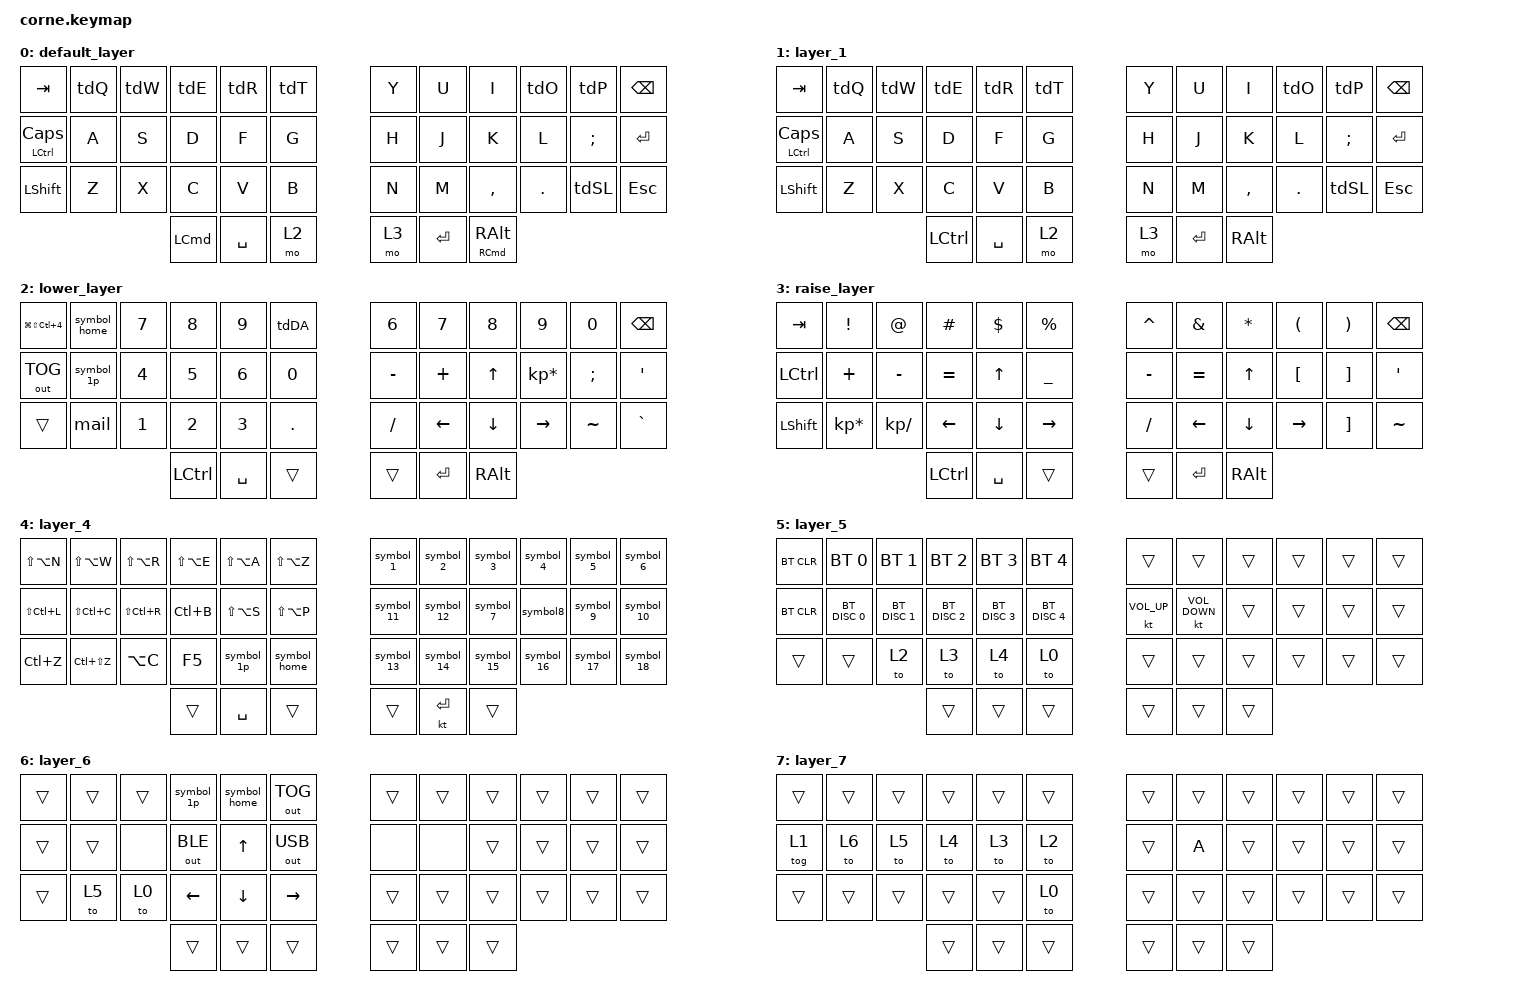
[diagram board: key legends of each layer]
/*
 * Copyright (c) 2020 The ZMK Contributors
 *
 * SPDX-License-Identifier: MIT
 */

#include <behaviors.dtsi>
#include <dt-bindings/zmk/bt.h>
#include <dt-bindings/zmk/keys.h>
#include <dt-bindings/zmk/outputs.h>

/ {
    behaviors {
        tdQ: tap_dance_Q {
            compatible = "zmk,behavior-tap-dance";
            #binding-cells = <0>;
            tapping-term-ms = <180>;
            bindings = <&kp Q>, <&kp LS(Q)>;
        };

        tdW: tap_dance_W {
            compatible = "zmk,behavior-tap-dance";
            #binding-cells = <0>;
            tapping-term-ms = <180>;
            bindings = <&kp W>, <&kp LS(W)>;
        };

        tdE: tap_dance_E {
            compatible = "zmk,behavior-tap-dance";
            #binding-cells = <0>;
            tapping-term-ms = <180>;
            bindings = <&kp E>, <&kp LS(E)>;
        };

        tdR: tap_dance_R {
            compatible = "zmk,behavior-tap-dance";
            #binding-cells = <0>;
            tapping-term-ms = <180>;
            bindings = <&kp R>, <&kp LS(R)>;
        };

        tdT: tap_dance_T {
            compatible = "zmk,behavior-tap-dance";
            #binding-cells = <0>;
            tapping-term-ms = <180>;
            bindings = <&kp T>, <&kp LS(T)>;
        };

        tdO: tap_dance_O {
            compatible = "zmk,behavior-tap-dance";
            #binding-cells = <0>;
            tapping-term-ms = <180>;
            bindings = <&kp O>, <&kp LS(O)>;
        };

        tdP: tap_dance_P {
            compatible = "zmk,behavior-tap-dance";
            #binding-cells = <0>;
            tapping-term-ms = <180>;
            bindings = <&kp P>, <&kp LS(P)>;
        };

        tdSL: tap_dance_SL {
            compatible = "zmk,behavior-tap-dance";
            #binding-cells = <0>;
            tapping-term-ms = <180>;
            bindings = <&kp FSLH>, <&kp LS(FSLH)>;
        };

        td1: tap_dance_1 {
            compatible = "zmk,behavior-tap-dance";
            #binding-cells = <0>;
            tapping-term-ms = <180>;
            bindings = <&kp N1>, <&kp LS(N1)>;
        };

        td2: tap_dance_2 {
            compatible = "zmk,behavior-tap-dance";
            #binding-cells = <0>;
            tapping-term-ms = <180>;
            bindings = <&kp N2>, <&kp LS(N2)>;
        };

        td3: tap_dance_3 {
            compatible = "zmk,behavior-tap-dance";
            #binding-cells = <0>;
            tapping-term-ms = <180>;
            bindings = <&kp N3>, <&kp LS(N3)>;
        };

        td4: tap_dance_4 {
            compatible = "zmk,behavior-tap-dance";
            #binding-cells = <0>;
            tapping-term-ms = <180>;
            bindings = <&kp N4>, <&kp LS(N4)>;
        };

        td5: tap_dance_5 {
            compatible = "zmk,behavior-tap-dance";
            #binding-cells = <0>;
            tapping-term-ms = <180>;
            bindings = <&kp N5>, <&kp LS(N5)>;
        };

        td6: tap_dance_6 {
            compatible = "zmk,behavior-tap-dance";
            #binding-cells = <0>;
            tapping-term-ms = <180>;
            bindings = <&kp N6>, <&kp LS(N6)>;
        };

        td7: tap_dance_7 {
            compatible = "zmk,behavior-tap-dance";
            #binding-cells = <0>;
            tapping-term-ms = <180>;
            bindings = <&kp N7>, <&kp LS(N7)>;
        };

        td8: tap_dance_8 {
            compatible = "zmk,behavior-tap-dance";
            #binding-cells = <0>;
            tapping-term-ms = <180>;
            bindings = <&kp N8>, <&kp LS(N8)>;
        };

        td9: tap_dance_9 {
            compatible = "zmk,behavior-tap-dance";
            #binding-cells = <0>;
            tapping-term-ms = <180>;
            bindings = <&kp N9>, <&kp LS(N9)>;
        };

        td0: tap_dance_0 {
            compatible = "zmk,behavior-tap-dance";
            #binding-cells = <0>;
            tapping-term-ms = <180>;
            bindings = <&kp N0>, <&kp LS(N0)>;
        };

        tdTL: tap_dance_gl {
            compatible = "zmk,behavior-tap-dance";
            #binding-cells = <0>;
            tapping-term-ms = <180>;
            bindings = <&kp ESCAPE>, <&kp TILDE>;
        };

        tdDA: tap_dance_DA {
            compatible = "zmk,behavior-tap-dance";
            #binding-cells = <0>;
            tapping-term-ms = <180>;
            bindings = <&kp MINUS>, <&kp UNDER>;
        };
    };

    combos {
        compatible = "zmk,combos";

        default {
            bindings = <&to 0>;
            key-positions = <38 37 36>;
        };

        layer4 {
            bindings = <&to 3>;
            key-positions = <39 40>;
        };

        layer_66 {
            bindings = <&to 7>;
            key-positions = <37 38>;
        };

        layer_3 {
            bindings = <&to 4>;
            key-positions = <36 38>;
        };

        layer_5 {
            bindings = <&out OUT_TOG>;
            key-positions = <40 41>;
        };

        combo_2 {
            bindings = <&to 3>;
            key-positions = <37 36>;
        };

        layer_6 {
            bindings = <&symbol_1p>;
            key-positions = <39 41>;
        };

        layer_00 {
            bindings = <&to 0>;
            key-positions = <40 41 39>;
        };

        WIN {
            bindings = <&tog 1>;
            key-positions = <0 36 37>;
        };

        MAC {
            bindings = <&tog 0>;
            key-positions = <37 36 12>;
        };
    };

    macros {
        symbol_1: symbol_1 {
            compatible = "zmk,behavior-macro";
            #binding-cells = <0>;
            bindings =
                <&kp N2 &kp N6 &kp N0 &kp N5 &kp LA(LS(F10))>,
                <&macro_wait_time 30>;

            label = "SYMBOL_1";
        };

        symbol_2: symbol_2 {
            compatible = "zmk,behavior-macro";
            #binding-cells = <0>;
            bindings =
                <&kp N2 &kp N6 &kp NUMBER_0 &kp NUMBER_6 &sk LS(LA(F10))>,
                <&macro_wait_time 30>;

            label = "SYMBOL_2";
        };

        symbol_3: symbol_3 {
            compatible = "zmk,behavior-macro";
            #binding-cells = <0>;
            bindings =
                <&kp N2 &kp N7 &kp N8 &kp N0 &kp LS(LA(F10))>,
                <&macro_wait_time 30>;

            label = "SYMBOL_3";
        };

        symbol_4: symbol_4 {
            compatible = "zmk,behavior-macro";
            #binding-cells = <0>;
            bindings =
                <&kp N2 &kp N7 &kp N8 &kp NUMBER_1 &kp LS(LA(F10))>,
                <&macro_wait_time 30>;

            label = "SYMBOL_4";
        };

        symbol_5: symbol_5 {
            compatible = "zmk,behavior-macro";
            #binding-cells = <0>;
            bindings =
                <&kp N2 &kp N7 &kp N8 &kp NUMBER_2 &kp LA(LS(F10))>,
                <&macro_wait_time 30>;

            label = "SYMBOL_5";
        };

        symbol_6: symbol_6 {
            compatible = "zmk,behavior-macro";
            #binding-cells = <0>;
            bindings =
                <&kp N2 &kp N7 &kp N8 &kp NUMBER_3 &kp LA(LS(F10))>,
                <&macro_wait_time 30>;

            label = "SYMBOL_6";
        };

        symbol_7: symbol_7 {
            compatible = "zmk,behavior-macro";
            #binding-cells = <0>;
            bindings =
                <&kp N2 &kp N7 &kp N7 &kp NUMBER_6 &kp LA(LS(F10))>,
                <&macro_wait_time 30>;

            label = "SYMBOL_7";
        };

        symbol_9: symbol_8 {
            compatible = "zmk,behavior-macro";
            #binding-cells = <0>;
            bindings =
                <&kp N2 &kp N7 &kp N7 &kp N8 &kp LA(LS(F10))>,
                <&macro_wait_time 30>;

            label = "SYMBOL_8";
        };

        symbol_10: symbol_9 {
            compatible = "zmk,behavior-macro";
            #binding-cells = <0>;
            bindings =
                <&kp N2 &kp N7 &kp N7 &kp N9 &kp LA(LS(F10))>,
                <&macro_wait_time 30>;

            label = "SYMBOL_9";
        };

        symbol_11: symbol_11 {
            compatible = "zmk,behavior-macro";
            #binding-cells = <0>;
            bindings =
                <&kp N2 &kp NUMBER_2 &kp NUMBER_1 &kp N9 &kp LA(LS(F10))>,
                <&macro_wait_time 30>;

            label = "SYMBOL_11";
        };

        symbol_12: symbol_12 {
            compatible = "zmk,behavior-macro";
            #binding-cells = <0>;
            bindings =
                <&kp N2 &kp NUMBER_0 &kp NUMBER_3 &kp B &kp LA(LS(F10))>,
                <&macro_wait_time 30>;

            label = "SYMBOL_12";
        };

        symbol_13: symbol_13 {
            compatible = "zmk,behavior-macro";
            #binding-cells = <0>;
            bindings =
                <&kp N2 &kp N7 &kp N3 &kp N1 &kp LA(LS(F10))>,
                <&macro_wait_time 30>;

            label = "SYMBOL_13";
        };

        symbol_14: symbol_14 {
            compatible = "zmk,behavior-macro";
            #binding-cells = <0>;
            bindings =
                <&kp N1 &kp F &kp N7 &kp B &kp N9 &kp LA(LS(F10))>,
                <&macro_wait_time 30>;

            label = "SYMBOL_14";
        };

        symbol_15: symbol_15 {
            compatible = "zmk,behavior-macro";
            #binding-cells = <0>;
            bindings =
                <&kp NUMBER_3 &kp NUMBER_0 &kp NUMBER_0 &kp E &kp LA(LS(F10))>,
                <&macro_wait_time 30>;

            label = "SYMBOL_15";
        };

        symbol_16: symbol_16 {
            compatible = "zmk,behavior-macro";
            #binding-cells = <0>;
            bindings =
                <&kp NUMBER_3 &kp NUMBER_0 &kp NUMBER_0 &kp F &kp LA(LS(F10))>,
                <&macro_wait_time 30>;

            label = "SYMBOL_16";
        };

        symbol_17: symbol_17 {
            compatible = "zmk,behavior-macro";
            #binding-cells = <0>;
            bindings =
                <&kp NUMBER_3 &kp NUMBER_0 &kp NUMBER_1 &kp NUMBER_0 &kp LA(LS(F10))>,
                <&macro_wait_time 30>;

            label = "SYMBOL_17";
        };

        symbol_18: symbol_18 {
            compatible = "zmk,behavior-macro";
            #binding-cells = <0>;
            bindings =
                <&kp NUMBER_3 &kp NUMBER_0 &kp NUMBER_1 &kp NUMBER_1 &kp LA(LS(F10))>,
                <&macro_wait_time 30>;

            label = "SYMBOL_18";
        };

        symbol8: symbol8 {
            compatible = "zmk,behavior-macro";
            #binding-cells = <0>;
            bindings =
                <&kp N2 &kp N7 &kp N7 &kp NUMBER_7 &kp LA(LS(F10))>,
                <&macro_wait_time 30>;

            label = "SYMBOL8";
        };

        symbol_201502: symbol_201502 {
            compatible = "zmk,behavior-macro";
            #binding-cells = <0>;
            bindings =
                <&kp N2 &kp N0 &kp N1 &kp N5 &kp N0 &kp N2>,
                <&macro_wait_time 30>;
        };

        symbol_home: symbol_home {
            compatible = "zmk,behavior-macro";
            #binding-cells = <0>;
            bindings =
                <&kp LS(D) &kp LS(L) &kp LS(G) &kp LS(U) &kp LS(S) &kp D &kp I &kp D &kp N5 &kp N6>,
                <&macro_wait_time 30>,
                <&to 0>,
                <&macro_wait_time 30>;

            label = "SYMBOL_HOME";
        };

        mail: mail {
            compatible = "zmk,behavior-macro";
            #binding-cells = <0>;
            bindings =
                <&kp H &kp Y &kp U &kp N &kp S &kp O &kp O &kp N5 &kp N6 &kp AT &kp M &kp E &kp DOT &kp C &kp O &kp M>,
                <&macro_wait_time 30>;

            label = "MAIL";
        };

        a150056: a150056 {
            compatible = "zmk,behavior-macro";
            #binding-cells = <0>;
            bindings =
                <&kp N1 &kp N5 &kp N0 &kp N0 &kp N5 &kp N6>,
                <&macro_wait_time 30>;

            label = "A150056";
        };

        work: work {
            compatible = "zmk,behavior-macro";
            #binding-cells = <0>;
            bindings =
                <&kp GRAVE &kp N1 &kp N2 &kp Q &kp W &kp E &kp A &kp S &kp D>,
                <&macro_wait_time 30>;

            label = "WORK";
        };

        symbol_1p: symbol_1p {
            compatible = "zmk,behavior-macro";
            #binding-cells = <0>;
            bindings =
                <&kp LS(D) &kp LS(L) &kp LS(G) &kp LS(U) &kp LS(S) &kp D &kp I &kp D &kp N5 &kp N6 &kp CARET>,
                <&macro_wait_time 30>,
                <&to 0>,
                <&macro_wait_time 30>;

            label = "SYMBOL_1P";
        };
    };

    keymap {
        compatible = "zmk,keymap";

        default_layer {
            // -----------------------------------------------------------------------------------------
            // |  TAB |  Q  |  W  |  E  |  R  |  T  |   |  Y  |  U   |  I  |  O  |  P  | BKSP |
            // | CTRL |  A  |  S  |  D  |  F  |  G  |   |  H  |  J   |  K  |  L  |  ;  |  '   |
            // | SHFT |  Z  |  X  |  C  |  V  |  B  |   |  N  |  M   |  ,  |  .  |  /  | ESC  |
            //                    | GUI | LWR | SPC |   | ENT | RSE  | ALT |

            bindings = <
&kp TAB             &tdQ   &tdW   &tdE      &tdR       &tdT     &kp Y  &kp U       &kp I                        &tdO     &tdP      &kp BSPC
&mt LCTRL CAPSLOCK  &kp A  &kp S  &kp D     &kp F      &kp G    &kp H  &kp J       &kp K                        &kp L    &kp SEMI  &kp ENTER
&kp LEFT_SHIFT      &kp Z  &kp X  &kp C     &kp V      &kp B    &kp N  &kp M       &kp COMMA                    &kp DOT  &tdSL     &kp ESC
                                  &kp LCMD  &kp SPACE  &mo 2    &mo 3  &kp RETURN  &mt RIGHT_COMMAND RIGHT_ALT
            >;
        };

        layer_1 {
            bindings = <
&kp TAB             &tdQ   &tdW   &tdE              &tdR       &tdT     &kp Y  &kp U       &kp I      &tdO     &tdP      &kp BSPC
&mt LCTRL CAPSLOCK  &kp A  &kp S  &kp D             &kp F      &kp G    &kp H  &kp J       &kp K      &kp L    &kp SEMI  &kp ENTER
&kp LEFT_SHIFT      &kp Z  &kp X  &kp C             &kp V      &kp B    &kp N  &kp M       &kp COMMA  &kp DOT  &tdSL     &kp ESC
                                  &kp LEFT_CONTROL  &kp SPACE  &mo 2    &mo 3  &kp RETURN  &kp RALT
            >;
        };

        lower_layer {
            // -----------------------------------------------------------------------------------------
            // |  TAB |  1  |  2  |  3  |  4  |  5  |   |  6  |  7  |  8  |  9  |  0  | BKSP |
            // | BTCLR| BT1 | BT2 | BT3 | BT4 | BT5 |   | LFT | DWN |  UP | RGT |     |      |
            // | SHFT |     |     |     |     |     |   |     |     |     |     |     |      |
            //                    | GUI |     | SPC |   | ENT |     | ALT |

            bindings = <
&kp LG(LS(LC(NUMBER_4)))  &symbol_home  &kp NUMBER_7  &kp NUMBER_8  &kp NUMBER_9  &tdDA           &kp N6     &kp N7      &kp N8        &kp N9           &kp N0     &kp BSPC
&out OUT_TOG              &symbol_1p    &kp NUMBER_4  &kp NUMBER_5  &kp NUMBER_6  &kp NUMBER_0    &kp MINUS  &kp PLUS    &kp UP_ARROW  &kp KP_MULTIPLY  &kp SEMI   &kp SINGLE_QUOTE
&trans                    &mail         &kp NUMBER_1  &kp NUMBER_2  &kp NUMBER_3  &kp PERIOD      &kp SLASH  &kp LEFT    &kp DOWN      &kp RIGHT        &kp TILDE  &kp GRAVE
                                                      &kp LCTRL     &kp SPACE     &trans          &trans     &kp RETURN  &kp RALT
            >;
        };

        raise_layer {
            // -----------------------------------------------------------------------------------------
            // |  TAB |  !  |  @  |  #  |  $  |  %  |   |  ^  |  &  |  *  |  (  |  )  | BKSP |
            // | CTRL |     |     |     |     |     |   |  -  |  =  |  [  |  ]  |  \  |  `   |
            // | SHFT |     |     |     |     |     |   |  _  |  +  |  {  |  }  | "|" |  ~   |
            //                    | GUI |     | SPC |   | ENT |     | ALT |

            bindings = <
&kp TAB    &kp EXCL         &kp AT         &kp HASH        &kp DLLR        &kp PRCNT          &kp CARET  &kp AMPS    &kp ASTRK  &kp LPAR          &kp RPAR           &kp BSPC
&kp LCTRL  &kp PLUS         &kp MINUS      &kp EQUAL       &kp UP_ARROW    &kp UNDER          &kp MINUS  &kp EQUAL   &kp UP     &kp LEFT_BRACKET  &kp RIGHT_BRACKET  &kp SINGLE_QUOTE
&kp LSHFT  &kp KP_MULTIPLY  &kp KP_DIVIDE  &kp LEFT_ARROW  &kp DOWN_ARROW  &kp RIGHT_ARROW    &kp SLASH  &kp LEFT    &kp DOWN   &kp RIGHT         &kp RBKT           &kp TILDE
                                           &kp LCTRL       &kp SPACE       &trans             &trans     &kp RETURN  &kp RALT
            >;
        };

        layer_4 {
            bindings = <
&kp LS(LA(N))  &kp LS(LA(W))  &kp LS(LA(R))  &kp LS(LA(E))  &kp LS(LA(A))  &kp LS(LA(Z))    &symbol_1   &symbol_2   &symbol_3   &symbol_4   &symbol_5   &symbol_6
&kp LS(LC(L))  &kp LS(LC(C))  &kp LS(LC(R))  &kp LC(B)      &kp LS(LA(S))  &kp LS(LA(P))    &symbol_11  &symbol_12  &symbol_7   &symbol8    &symbol_9   &symbol_10
&kp LC(Z)      &kp LC(LS(Z))  &kp LA(C)      &kp F5         &symbol_1p     &symbol_home     &symbol_13  &symbol_14  &symbol_15  &symbol_16  &symbol_17  &symbol_18
                                             &trans         &kp SPACE      &trans           &trans      &kt ENTER   &trans
            >;
        };

        layer_5 {
            bindings = <
&bt BT_CLR  &bt BT_SEL 0   &bt BT_SEL 1   &bt BT_SEL 2   &bt BT_SEL 3   &bt BT_SEL 4     &trans           &trans             &trans  &trans  &trans  &trans
&bt BT_CLR  &bt BT_DISC 0  &bt BT_DISC 1  &bt BT_DISC 2  &bt BT_DISC 3  &bt BT_DISC 4    &kt C_VOLUME_UP  &kt C_VOLUME_DOWN  &trans  &trans  &trans  &trans
&trans      &trans         &to 2          &to 3          &to 4          &to 0            &trans           &trans             &trans  &trans  &trans  &trans
                                          &trans         &trans         &trans           &trans           &trans             &trans
            >;
        };

        layer_6 {
            bindings = <
&trans  &trans  &trans  &symbol_1p    &symbol_home  &out OUT_TOG    &trans  &trans  &trans  &trans  &trans  &trans
&trans  &trans  &none   &out OUT_BLE  &kp UP        &out OUT_USB    &none   &none   &trans  &trans  &trans  &trans
&trans  &to 5   &to 0   &kp LEFT      &kp DOWN      &kp RIGHT       &trans  &trans  &trans  &trans  &trans  &trans
                        &trans        &trans        &trans          &trans  &trans  &trans
            >;
        };

        layer_7 {
            bindings = <
&trans  &trans  &trans  &trans  &trans  &trans    &trans  &trans  &trans  &trans  &trans  &trans
&tog 1  &to 6   &to 5   &to 4   &to 3   &to 2     &trans  &kp A   &trans  &trans  &trans  &trans
&trans  &trans  &trans  &trans  &trans  &to 0     &trans  &trans  &trans  &trans  &trans  &trans
                        &trans  &trans  &trans    &trans  &trans  &trans
            >;
        };
    };
};
